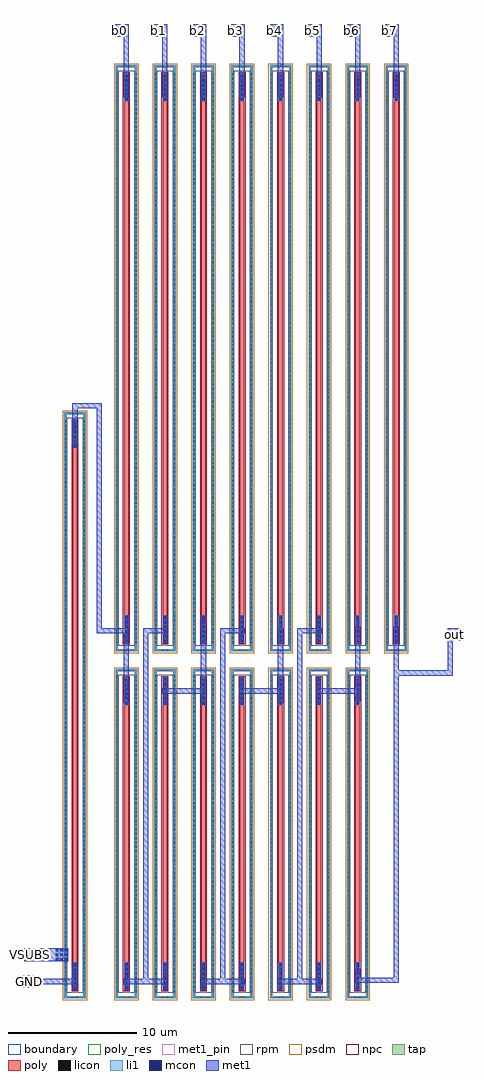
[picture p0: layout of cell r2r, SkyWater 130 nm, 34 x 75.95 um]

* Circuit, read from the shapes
.subckt r2r GND VSUBS b0 b1 b2 b3 b4 b5 b6 b7 out
XR1 n1 GND VSUBS sky130_fd_pr__res_high_po w=0.35 l=40.04
XR2 n1 n2 VSUBS sky130_fd_pr__res_high_po w=0.35 l=20.04
XR3 b0 n1 VSUBS sky130_fd_pr__res_high_po w=0.35 l=40.04
XR4 n3 n2 VSUBS sky130_fd_pr__res_high_po w=0.35 l=20.04
XR5 b1 n2 VSUBS sky130_fd_pr__res_high_po w=0.35 l=40.04
XR6 n3 n4 VSUBS sky130_fd_pr__res_high_po w=0.35 l=20.04
XR7 b2 n3 VSUBS sky130_fd_pr__res_high_po w=0.35 l=40.04
XR8 n5 n4 VSUBS sky130_fd_pr__res_high_po w=0.35 l=20.04
XR9 b3 n4 VSUBS sky130_fd_pr__res_high_po w=0.35 l=40.04
XR10 n5 n6 VSUBS sky130_fd_pr__res_high_po w=0.35 l=20.04
XR11 b4 n5 VSUBS sky130_fd_pr__res_high_po w=0.35 l=40.04
XR12 n7 n6 VSUBS sky130_fd_pr__res_high_po w=0.35 l=20.04
XR13 b5 n6 VSUBS sky130_fd_pr__res_high_po w=0.35 l=40.04
XR14 n7 out VSUBS sky130_fd_pr__res_high_po w=0.35 l=20.04
XR15 b6 n7 VSUBS sky130_fd_pr__res_high_po w=0.35 l=40.04
XR16 b7 out VSUBS sky130_fd_pr__res_high_po w=0.35 l=40.04
.ends

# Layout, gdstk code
import gdstk
lib = gdstk.Library(unit=1e-6, precision=1e-09)
def R(c, l, rs):  # rectangles x0, y0, x1, y1
    for r in rs: c.add(gdstk.rectangle(r[:2], r[2:], *l))
def A(c, l, x, y, w, h, nx, ny, dx, dy):  # array of equal rectangles
    R(c, l, [(x+i*dx, y+j*dy, x+i*dx+w, y+j*dy+h) for i in range(nx) for j in range(ny)])
tap = (65, 44)
poly_res = (66, 13)
poly = (66, 20)
licon = (66, 44)
li1 = (67, 20)
mcon = (67, 44)
met1_pin = (68, 16)
met1 = (68, 20)
rpm = (86, 20)
psdm = (94, 20)
npc = (95, 20)
boundary = (235, 4)

cells_sky130_fd_pr__res_ = lib.new_cell('cells/sky130_fd_pr__res_high_po_0p35_3KK54B')
R(cells_sky130_fd_pr__res_, tap, [(-0.825,-22.81,0.825,-22.64), (-0.825,-22.64,-0.655,22.64), (0.655,-22.64,0.825,22.64), (-0.825,22.64,0.825,22.81)])
R(cells_sky130_fd_pr__res_, poly_res, [(-0.175,-20.08,0.175,20.08)])
R(cells_sky130_fd_pr__res_, poly, [(-0.175,-22.16,0.175,22.16)])
A(cells_sky130_fd_pr__res_, licon, -0.825, -22.185, 0.17, 0.17, 1, 131, 0, 0.34)
A(cells_sky130_fd_pr__res_, licon, 0.655, -22.185, 0.17, 0.17, 1, 131, 0, 0.34)
R(cells_sky130_fd_pr__res_, licon, [(-0.255,-22.81,-0.085,-22.64), (0.085,-22.81,0.255,-22.64), (-0.095,-22.08,0.095,-20.08), (-0.095,20.08,0.095,22.08), (-0.255,22.64,-0.085,22.81), (0.085,22.64,0.255,22.81)])
R(cells_sky130_fd_pr__res_, li1, [(-0.825,-22.81,0.825,-22.64), (-0.825,-22.64,-0.655,22.64), (0.655,-22.64,0.825,22.64), (-0.175,-22.16,0.175,-20), (-0.175,20,0.175,22.16), (-0.825,22.64,0.825,22.81)])
A(cells_sky130_fd_pr__res_, mcon, -0.085, -22.065, 0.17, 0.17, 1, 6, 0, 0.36)
A(cells_sky130_fd_pr__res_, mcon, -0.085, 20.09, 0.17, 0.17, 1, 6, 0, 0.36)
R(cells_sky130_fd_pr__res_, met1, [(-0.125,-22.13,0.125,-20.025), (-0.125,20.025,0.125,22.13)])
R(cells_sky130_fd_pr__res_, rpm, [(-0.635,-22.36,0.635,22.36)])
R(cells_sky130_fd_pr__res_, psdm, [(-0.95,-22.935,0.95,22.935)])
R(cells_sky130_fd_pr__res_, npc, [(-0.27,-22.255,0.27,22.255)])
R(cells_sky130_fd_pr__res_, boundary, [(-0.74,-22.725,0.74,22.725)])

c_cells_sky130_fd_pr__res_ = lib.new_cell('cells/sky130_fd_pr__res_high_po_0p35_QPS5FG')
R(c_cells_sky130_fd_pr__res_, tap, [(-0.825,-12.81,0.825,-12.64), (-0.825,-12.64,-0.655,12.64), (0.655,-12.64,0.825,12.64), (-0.825,12.64,0.825,12.81)])
R(c_cells_sky130_fd_pr__res_, poly_res, [(-0.175,-10.08,0.175,10.08)])
R(c_cells_sky130_fd_pr__res_, poly, [(-0.175,-12.16,0.175,12.16)])
A(c_cells_sky130_fd_pr__res_, licon, -0.825, -12.325, 0.17, 0.17, 1, 73, 0, 0.34)
A(c_cells_sky130_fd_pr__res_, licon, 0.655, -12.325, 0.17, 0.17, 1, 73, 0, 0.34)
R(c_cells_sky130_fd_pr__res_, licon, [(-0.255,-12.81,-0.085,-12.64), (0.085,-12.81,0.255,-12.64), (-0.095,-12.08,0.095,-10.08), (-0.095,10.08,0.095,12.08), (-0.255,12.64,-0.085,12.81), (0.085,12.64,0.255,12.81)])
R(c_cells_sky130_fd_pr__res_, li1, [(-0.825,-12.81,0.825,-12.64), (-0.825,-12.64,-0.655,12.64), (0.655,-12.64,0.825,12.64), (-0.175,-12.16,0.175,-10), (-0.175,10,0.175,12.16), (-0.825,12.64,0.825,12.81)])
A(c_cells_sky130_fd_pr__res_, mcon, -0.085, -12.065, 0.17, 0.17, 1, 6, 0, 0.36)
A(c_cells_sky130_fd_pr__res_, mcon, -0.085, 10.09, 0.17, 0.17, 1, 6, 0, 0.36)
R(c_cells_sky130_fd_pr__res_, met1, [(-0.125,-12.13,0.125,-10.025), (-0.125,10.025,0.125,12.13)])
R(c_cells_sky130_fd_pr__res_, rpm, [(-0.635,-12.36,0.635,12.36)])
R(c_cells_sky130_fd_pr__res_, psdm, [(-0.95,-12.935,0.95,12.935)])
R(c_cells_sky130_fd_pr__res_, npc, [(-0.27,-12.255,0.27,12.255)])
R(c_cells_sky130_fd_pr__res_, boundary, [(-0.74,-12.725,0.74,12.725)])

r2r = lib.new_cell('r2r')
R(r2r, li1, [(-10.51,15.11,-9.57,16.05)])
A(r2r, mcon, -10.485, 15.135, 0.17, 0.17, 3, 3, 0.36, 0.36)
A(r2r, met1_pin, -6, 87, 1, 1, 8, 1, 3, 0)
R(r2r, met1_pin, [(-13,13,-12,14), (-12.93,15.08,-11.93,16.08), (20,40,21,41)])
A(r2r, met1, -5.2, 13.3, 3.4, 0.4, 3, 1, 6, 0)
A(r2r, met1, -3.7, 13.7, 0.4, 26.9, 3, 1, 6, 0)
A(r2r, met1, -2.2, 35.9, 3.4, 0.4, 3, 1, 6, 0)
A(r2r, met1, -3.7, 40.6, 1.9, 0.4, 3, 1, 6, 0)
A(r2r, met1, -5.2, 82.3, 0.4, 4.7, 8, 1, 3, 0)
A(r2r, met1, -6, 87, 1.2, 1, 8, 1, 3, 0)
R(r2r, met1, [(-13,13,-12,13.3), (-13,13.3,-8.8,13.7), (12.8,13.4,16.2,13.8), (-13,13.7,-12,14), (-9.2,13.7,-8.8,14.6), (12.8,13.8,13.2,14.5), (15.8,13.8,16.2,37.3), (-12.93,15.08,-9.51,16.08), (-5.2,35.2,-4.8,40.6), (0.8,35.2,1.2,35.9), (6.8,35.2,7.2,35.9), (12.8,35.3,13.2,35.9), (0.8,36.3,1.2,41), (6.8,36.3,7.2,41), (12.8,36.3,13.2,41.1), (15.8,37.3,20.4,37.7), (15.8,37.7,16.2,41.1), (20,37.7,20.4,40), (20,40,21,41), (-7.3,40.6,-4.8,41), (-7.3,41,-6.9,58.1), (-9.2,55.3,-8.8,58.1), (-9.2,58.1,-6.9,58.5)])
r2r.add(gdstk.Reference(cells_sky130_fd_pr__res_, (-8.995,34.99)))
r2r.add(gdstk.Reference(cells_sky130_fd_pr__res_, (-4.995,61.99)))
r2r.add(gdstk.Reference(c_cells_sky130_fd_pr__res_, (-4.995,24.99)))
r2r.add(gdstk.Reference(cells_sky130_fd_pr__res_, (-1.995,61.99)))
r2r.add(gdstk.Reference(c_cells_sky130_fd_pr__res_, (-1.995,24.99)))
r2r.add(gdstk.Reference(cells_sky130_fd_pr__res_, (1.005,61.99)))
r2r.add(gdstk.Reference(c_cells_sky130_fd_pr__res_, (1.005,24.99)))
r2r.add(gdstk.Reference(cells_sky130_fd_pr__res_, (4.005,61.99)))
r2r.add(gdstk.Reference(c_cells_sky130_fd_pr__res_, (4.005,24.99)))
r2r.add(gdstk.Reference(cells_sky130_fd_pr__res_, (7.005,61.99)))
r2r.add(gdstk.Reference(c_cells_sky130_fd_pr__res_, (7.005,24.99)))
r2r.add(gdstk.Reference(cells_sky130_fd_pr__res_, (10.005,61.99)))
r2r.add(gdstk.Reference(c_cells_sky130_fd_pr__res_, (10.005,24.99)))
r2r.add(gdstk.Reference(cells_sky130_fd_pr__res_, (13.005,61.99)))
r2r.add(gdstk.Reference(c_cells_sky130_fd_pr__res_, (13.005,24.99)))
r2r.add(gdstk.Reference(cells_sky130_fd_pr__res_, (16.005,61.99)))
r2r.add(gdstk.Label('b0', (-5.5,87.5), layer=68, texttype=5))
r2r.add(gdstk.Label('b1', (-2.5,87.5), layer=68, texttype=5))
r2r.add(gdstk.Label('b2', (0.5,87.5), layer=68, texttype=5))
r2r.add(gdstk.Label('b3', (3.5,87.5), layer=68, texttype=5))
r2r.add(gdstk.Label('b4', (6.5,87.5), layer=68, texttype=5))
r2r.add(gdstk.Label('b5', (9.5,87.5), layer=68, texttype=5))
r2r.add(gdstk.Label('b6', (12.5,87.5), layer=68, texttype=5))
r2r.add(gdstk.Label('b7', (15.5,87.5), layer=68, texttype=5))
r2r.add(gdstk.Label('out', (20.5,40.5), layer=68, texttype=5))
r2r.add(gdstk.Label('VSUBS', (-12.43,15.58), layer=68, texttype=5))
r2r.add(gdstk.Label('GND', (-12.5,13.5), layer=68, texttype=5))

lib.write_gds('r2r.gds')
